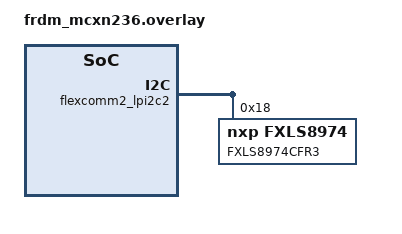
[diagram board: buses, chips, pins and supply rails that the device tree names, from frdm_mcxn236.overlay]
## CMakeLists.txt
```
# SPDX-License-Identifier: Apache-2.0

cmake_minimum_required(VERSION 3.20.0)

find_package(Zephyr REQUIRED HINTS $ENV{ZEPHYR_BASE})
project(fxls8974cf)

target_sources(app PRIVATE src/main.c)
```

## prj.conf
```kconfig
CONFIG_I2C=y
CONFIG_SENSOR=y
CONFIG_FXLS8974=y
CONFIG_CBPRINTF_FP_SUPPORT=y
```

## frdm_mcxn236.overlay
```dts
&flexcomm2_lpi2c2 {
    fxls8974cf: fxls8974cf@18 {
        compatible = "nxp,fxls8974";
        reg = <0x18>;  // The sensor I2C address
        label = "FXLS8974CFR3";
    };
};
```

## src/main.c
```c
/**
 * @file main.c
 * @author Faroch Mehri (faroch.mehri@ya.se)
 * @brief An example of FXLS8974CF sensor on I2C.
 *        Look at: https://www.nxp.com/docs/en/data-sheet/FXLS8974CF.pdf
 *
 * @version 0.1
 * @date 2025-02-09
 *
 * @copyright Copyright (c) 2025
 *
 */
#include <stdlib.h>
#include <zephyr/kernel.h>
#include <zephyr/device.h>
#include <zephyr/drivers/sensor.h>

#define ACCEL_NODE DT_NODELABEL(fxls8974cf)

int main(void)
{
	const struct device *accel_dev = DEVICE_DT_GET(ACCEL_NODE);

	if (!device_is_ready(accel_dev))
	{
		printk("I2C device not found!\n");
		exit(EXIT_FAILURE);
	}

	struct sensor_value accel_x, accel_y, accel_z;

	while (1)
	{
		if (0 == sensor_sample_fetch(accel_dev))
		{
			if ((0 == sensor_channel_get(accel_dev, SENSOR_CHAN_ACCEL_X, &accel_x)) &&
				(0 == sensor_channel_get(accel_dev, SENSOR_CHAN_ACCEL_Y, &accel_y)) &&
				(0 == sensor_channel_get(accel_dev, SENSOR_CHAN_ACCEL_Z, &accel_z)))
			{
				printk("Acceleration (m/s^2): X: %.06f, Y: %.06f, Z: %.06f\n\n",
					   accel_x.val1 + accel_x.val2 * 0.000001,
					   accel_y.val1 + accel_y.val2 * 0.000001,
					   accel_z.val1 + accel_z.val2 * 0.000001);
			}
			else
			{
				printk("Failed to read the sensor values\n");
			}
		}
		else
		{
			printk("Failed to fetch sensor data\n");
		}

		k_sleep(K_MSEC(1000));
	}

	return 0;
}
```
